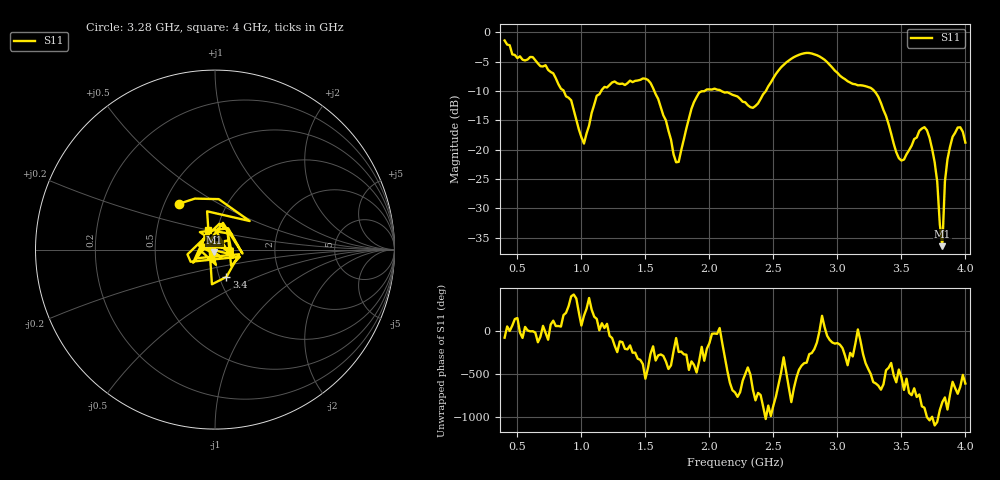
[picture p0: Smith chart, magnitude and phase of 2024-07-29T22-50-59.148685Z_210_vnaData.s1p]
!Created with skrf (http://scikit-rf.org).
# Hz S RI R 50.0
!freq ReS11 ImS11
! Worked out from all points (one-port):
!   181 points, 400 MHz to 4 GHz, reference 50 ohm
!   lowest |S11| = -36.4 dB at 3.82 GHz (marker M1), VSWR 1.03, Z = 49.6 - j1.45 ohm
!   |S11| at or under -10 dB: 1.57 GHz to 1.962 GHz (392 MHz wide, 22.2 % of centre); 2.094 GHz to 2.441 GHz (346.9 MHz wide, 15.3 % of centre); 3.288 GHz to end of sweep (the widest 3 of 4)
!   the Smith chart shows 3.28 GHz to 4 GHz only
!   S11 on the Smith chart (normalised r, x): 3.28 GHz: 0.60, +0.34; 3.4 GHz: 1.08, -0.34; 4 GHz: 0.90, +0.20
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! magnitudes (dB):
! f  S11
! 400 MHz  -1.4
! 500 MHz  -4.4
! 720 MHz  -5.6
! 860 MHz  -9.9
! 920 MHz  -11.6
! 1.02 GHz  -19.0
! 1.12 GHz  -10.8
! 1.3 GHz  -8.8
! 1.54 GHz  -8.6
! 1.76 GHz  -22.1
! 1.86 GHz  -13.0
! 1.92 GHz  -10.3
! 2.2 GHz  -10.8
! 2.34 GHz  -12.9
! 2.66 GHz  -4.2
! 2.84 GHz  -3.9
! 3.1 GHz  -8.6
! 3.28 GHz  -9.8
! 3.4 GHz  -15.6
! 3.48 GHz  -21.4
! 3.56 GHz  -20.1
! 3.7 GHz  -16.7
! 3.76 GHz  -22.1
! 3.82 GHz  -36.4
! 3.84 GHz  -25.4
! 3.88 GHz  -19.5
! 3.94 GHz  -16.2
! 4 GHz  -18.8
